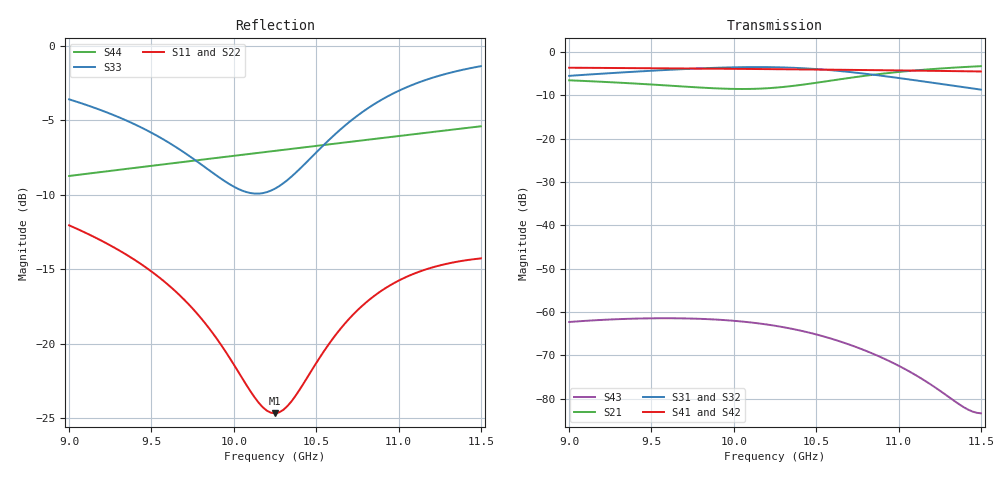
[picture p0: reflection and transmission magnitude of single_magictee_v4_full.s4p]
! Generated from PyAEDT SolutionData; AEDT ExportNetworkData workaround
# GHz S MA R 50
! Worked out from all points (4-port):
!   101 points, 9 GHz to 11.5 GHz, reference 50 ohm
!   strongest paths, dB at 9 GHz, 9.625 GHz, 10.25 GHz, 10.88 GHz, 11.5 GHz:
!     S41: -3.6, -3.8, -4.0, -4.2, -4.5
!     S42: -3.6, -3.8, -4.0, -4.2, -4.5
!     S31: -5.5, -4.1, -3.5, -5.4, -8.7
!     S32: -5.5, -4.1, -3.5, -5.4, -8.7
!     S21: -6.5, -7.8, -8.2, -5.1, -3.3
!     S43: -62.3, -61.4, -63.2, -70.1, -83.4
!   lowest |S11| = -24.7 dB at 10.25 GHz (marker M1), VSWR 1.12, Z = 46.2 - j4.2 ohm
!   |S11| at or under -10 dB: start of sweep to end of sweep
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9  0.2498 124.6  0.4715 174.9  0.5307 -104.6  0.6586 46.0
   0.4715 174.9  0.2516 124.8  0.5309 -104.6  0.6577 -134.1
   0.5307 -104.6  0.5309 -104.6  0.6607 172.9  0.0007684 143.4
   0.6586 46.0  0.6577 -134.1  0.0007684 143.4  0.3657 -114.7
9.575  0.1623 40.7  0.4132 115.0  0.6186 146.7  0.6483 -19.0
       0.4132 115.0  0.1627 41.3  0.619 146.6  0.6478 160.9
       0.6186 146.7  0.619 146.6  0.484 17.1  0.0008492 2.7
       0.6483 -19.0  0.6478 160.9  0.0008492 2.7  0.4001 -176.1
9.9  0.1034 -19.1  0.3803 87.4  0.6581 84.1  0.6416 -54.5
     0.3803 87.4  0.1023 -18.4  0.6584 83.9  0.6414 125.4
     0.6581 84.1  0.6584 83.9  0.3653 -83.6  0.000818 -79.9
     0.6416 -54.5  0.6414 125.4  0.000818 -79.9  0.4207 150.0
10.25  0.0585 -129.3  0.3875 64.1  0.667 14.9  0.6337 -91.8
       0.3875 64.1  0.05737 -130.6  0.6672 14.7  0.6336 88.0
       0.667 14.9  0.6672 14.7  0.3316 143.1  0.0006955 -172.7
       0.6337 -91.8  0.6336 88.0  0.0006955 -172.7  0.4439 113.9
10.75  0.1295 88.9  0.5171 22.9  0.5749 -83.3  0.6207 -144.2
       0.5171 22.9  0.1303 88.7  0.5748 -83.4  0.6207 35.7
       0.5749 -83.3  0.5748 -83.4  0.5823 -21.3  0.0003903 49.7
       0.6207 -144.2  0.6207 35.7  0.0003903 49.7  0.4791 63.1
11.1  0.1725 30.5  0.6126 -14.3  0.472 -147.1  0.61 179.8
      0.6126 -14.3  0.1722 30.5  0.4717 -147.3  0.6104 -0.4
      0.472 -147.1  0.4717 -147.3  0.7448 -109.5  0.0001895 -52.0
      0.61 179.8  0.6104 -0.4  0.0001895 -52.0  0.5053 27.6
11.5  0.1935 -24.4  0.6864 -58.1  0.3684 145.4  0.5963 138.9
      0.6864 -58.1  0.1922 -24.5  0.3681 145.2  0.597 -41.3
      0.3684 145.4  0.3681 145.2  0.8537 161.6  6.797e-05 139.6
      0.5963 138.9  0.597 -41.3  6.797e-05 139.6  0.5367 -12.8
